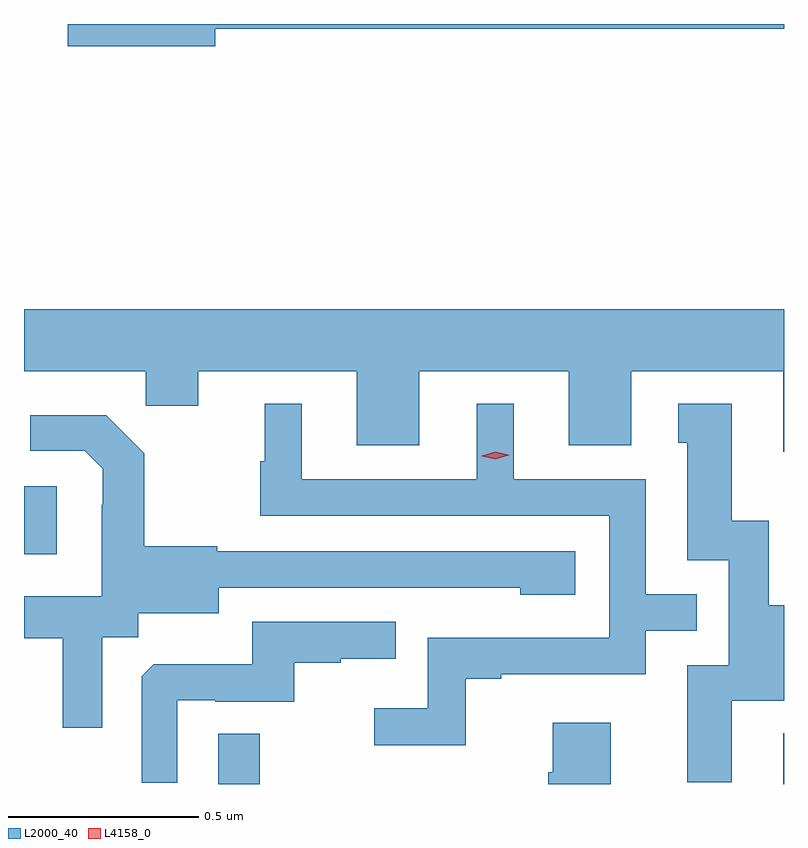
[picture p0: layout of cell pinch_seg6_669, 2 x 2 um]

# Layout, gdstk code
import gdstk
lib = gdstk.Library(unit=1e-6, precision=1e-09)
def R(c, l, rs):  # rectangles x0, y0, x1, y1
    for r in rs: c.add(gdstk.rectangle(r[:2], r[2:], *l))
def P(c, l, *ps):  # polygons
    for p in ps: c.add(gdstk.Polygon(p, *l))
L2000_40 = (2000, 40)
L4158_0 = (4158, 0)

pinch_seg6_669 = lib.new_cell('pinch_seg6_669')
R(pinch_seg6_669, L2000_40, [(374.634,944.918,374.743,945.05), (376.121,944.918,376.123,945.052), (374.123,945.522,374.209,945.702)])
P(pinch_seg6_669, L2000_40, [(374.626,946.906),(376.123,946.906),(376.123,946.918),(374.238,946.918),(374.238,946.859),(374.626,946.859)],
  [(376.123,946.168),(374.123,946.168),(374.123,946.004),(374.443,946.004),(374.443,945.914),(374.581,945.914),(374.581,946.004),(374.999,946.004),(374.999,945.81),(375.163,945.81),(375.163,946.004),(375.557,946.004),(375.557,945.81),(375.721,945.81),(375.721,946.004),(376.121,946.004),(376.121,945.793),(376.123,945.793)],
  [(375.985,945.137),(376.123,945.137),(376.123,945.388),(376.083,945.388),(376.083,945.611),(375.985,945.611),(375.985,945.919),(375.845,945.919),(375.845,945.816),(375.869,945.816),(375.869,945.507),(375.978,945.507),(375.978,945.231),(375.869,945.231),(375.869,944.922),(375.985,944.922)],
  [(375.285,945.195),(375.379,945.195),(375.379,945.207),(375.759,945.207),(375.759,945.321),(375.893,945.321),(375.893,945.417),(375.759,945.417),(375.759,945.72),(375.412,945.72),(375.412,945.919),(375.314,945.919),(375.314,945.72),(374.854,945.72),(374.854,945.919),(374.756,945.919),(374.756,945.768),(374.745,945.768),(374.745,945.624),(375.663,945.624),(375.663,945.303),(375.186,945.303),(375.186,945.118),(375.045,945.118),(375.045,945.02),(375.285,945.02)],
  [(374.329,945.304),(374.424,945.304),(374.424,945.368),(374.635,945.368),(374.635,945.435),(375.193,945.435),(375.193,945.434),(375.429,945.434),(375.429,945.416),(375.574,945.416),(375.574,945.531),(374.631,945.531),(374.631,945.544),(374.439,945.544),(374.439,945.789),(374.339,945.889),(374.139,945.889),(374.139,945.795),(374.283,945.795),(374.33,945.748),(374.33,945.653),(374.328,945.653),(374.328,945.412),(374.123,945.412),(374.123,945.302),(374.225,945.302),(374.225,945.066),(374.329,945.066)],
  [(374.526,945.138),(374.626,945.138),(374.626,945.135),(374.834,945.135),(374.834,945.237),(374.957,945.237),(374.957,945.248),(375.101,945.248),(375.101,945.345),(374.724,945.345),(374.724,945.233),(374.465,945.233),(374.433,945.201),(374.433,944.921),(374.526,944.921)],
  [(375.667,945.079),(375.515,945.079),(375.515,944.949),(375.503,944.949),(375.503,944.918),(375.667,944.918)])
P(pinch_seg6_669, L4158_0, [(375.363,945.772),(375.328,945.781),(375.327,945.781),(375.328,945.782),(375.363,945.792),(375.398,945.784),(375.399,945.784),(375.398,945.783)])

lib.write_gds('pinch_seg6_669.gds')
